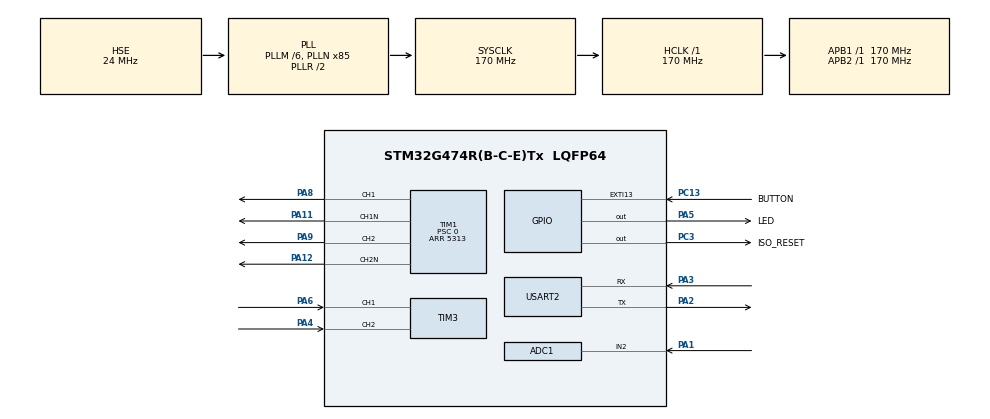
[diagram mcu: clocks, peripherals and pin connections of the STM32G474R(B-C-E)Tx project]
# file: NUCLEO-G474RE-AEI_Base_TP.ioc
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ADC1.Channel-0\#ChannelRegularConversion=ADC_CHANNEL_2
ADC1.ContinuousConvMode=ENABLE
ADC1.DMAContinuousRequests=ENABLE
ADC1.ExternalTrigConv=ADC_EXTERNALTRIG_T2_TRGO
ADC1.NbrOfConversionFlag=1
ADC1.OffsetNumber-0\#ChannelRegularConversion=ADC_OFFSET_NONE
ADC1.Rank-0\#ChannelRegularConversion=1
ADC1.SamplingTime-0\#ChannelRegularConversion=ADC_SAMPLETIME_2CYCLES_5
ADC1.master=1
Dma.ADC1.0.Direction=DMA_PERIPH_TO_MEMORY
Dma.ADC1.0.EventEnable=DISABLE
Dma.ADC1.0.Instance=DMA1_Channel1
Dma.ADC1.0.MemDataAlignment=DMA_MDATAALIGN_HALFWORD
Dma.ADC1.0.MemInc=DMA_MINC_ENABLE
Dma.ADC1.0.Mode=DMA_CIRCULAR
Dma.ADC1.0.PeriphDataAlignment=DMA_PDATAALIGN_HALFWORD
Dma.ADC1.0.PeriphInc=DMA_PINC_DISABLE
Dma.ADC1.0.Polarity=HAL_DMAMUX_REQ_GEN_RISING
Dma.ADC1.0.Priority=DMA_PRIORITY_LOW
Dma.ADC1.0.RequestNumber=1
Dma.ADC1.0.SignalID=NONE
Dma.ADC1.0.SyncEnable=DISABLE
Dma.ADC1.0.SyncPolarity=HAL_DMAMUX_SYNC_NO_EVENT
Dma.ADC1.0.SyncRequestNumber=1
Dma.ADC1.0.SyncSignalID=NONE
Dma.Request0=ADC1
Mcu.Family=STM32G4
Mcu.Name=STM32G474R(B-C-E)Tx
Mcu.Package=LQFP64
NVIC.ADC1_2_IRQn=true\:0\:0\:false\:false\:true\:true\:true\:true
NVIC.DMA1_Channel1_IRQn=true\:0\:0\:false\:false\:true\:false\:true\:true
NVIC.EXTI15_10_IRQn=true\:0\:0\:false\:false\:true\:true\:true\:true
NVIC.PriorityGroup=NVIC_PRIORITYGROUP_4
NVIC.TIM4_IRQn=true\:0\:0\:false\:false\:true\:true\:true\:true
NVIC.TIM6_DAC_IRQn=true\:15\:0\:false\:false\:true\:false\:true\:true
NVIC.TimeBase=TIM6_DAC_IRQn
NVIC.TimeBaseIP=TIM6
NVIC.USART2_IRQn=true\:0\:0\:false\:false\:true\:true\:true\:true
PA1.Mode=IN2-Single-Ended
PA1.Signal=ADC1_IN2
PA11.Mode=PWM Generation1 CH1 CH1N
PA11.Signal=TIM1_CH1N
PA12.Mode=PWM Generation2 CH2 CH2N
PA12.Signal=TIM1_CH2N
PA13.GPIO_Label=T_SWDIO
PA13.Mode=Serial_Wire
PA13.Signal=SYS_JTMS-SWDIO
PA14.GPIO_Label=T_SWCLK
PA14.Mode=Serial_Wire
PA14.Signal=SYS_JTCK-SWCLK
PA2.Mode=Asynchronous
PA2.Signal=USART2_TX
PA3.Mode=Asynchronous
PA3.Signal=USART2_RX
PA4.Signal=S_TIM3_CH2
PA5.GPIO_Label=LED
PA5.Signal=GPIO_Output
PA6.Signal=S_TIM3_CH1
PA8.Signal=S_TIM1_CH1
PA9.Signal=S_TIM1_CH2
PC13.GPIO_Label=BUTTON
PC13.Signal=GPXTI13
PC14-OSC32_IN.Mode=LSE-External-Oscillator
PC14-OSC32_IN.Signal=RCC_OSC32_IN
PC15-OSC32_OUT.Mode=LSE-External-Oscillator
PC15-OSC32_OUT.Signal=RCC_OSC32_OUT
PC3.GPIO_Label=ISO_RESET
PC3.Signal=GPIO_Output
PF0-OSC_IN.Mode=HSE-External-Oscillator
PF0-OSC_IN.Signal=RCC_OSC_IN
PF1-OSC_OUT.Mode=HSE-External-Oscillator
PF1-OSC_OUT.Signal=RCC_OSC_OUT
ProjectManager.HeapSize=0x200
ProjectManager.StackSize=0x400
ProjectManager.TargetToolchain=STM32CubeIDE
RCC.ADC12Freq_Value=170000000
RCC.ADC345Freq_Value=170000000
RCC.AHBFreq_Value=170000000
RCC.APB1Freq_Value=170000000
RCC.APB1TimFreq_Value=170000000
RCC.APB2Freq_Value=170000000
RCC.APB2TimFreq_Value=170000000
RCC.CortexFreq_Value=170000000
RCC.EXTERNAL_CLOCK_VALUE=12288000
RCC.HCLKFreq_Value=170000000
RCC.HSE_VALUE=24000000
RCC.HSI48_VALUE=48000000
RCC.HSI_VALUE=16000000
RCC.PLLM=RCC_PLLM_DIV6
RCC.PLLN=85
RCC.PLLSourceVirtual=RCC_PLLSOURCE_HSE
RCC.RTCClockSelection=RCC_RTCCLKSOURCE_LSE
RCC.SYSCLKFreq_VALUE=170000000
RCC.SYSCLKSource=RCC_SYSCLKSOURCE_PLLCLK
RCC.USBFreq_Value=170000000
RCC.VCOOutputFreq_Value=340000000
SH.S_TIM1_CH1.0=TIM1_CH1,PWM Generation1 CH1 CH1N
SH.S_TIM1_CH2.0=TIM1_CH2,PWM Generation2 CH2 CH2N
SH.S_TIM3_CH1.0=TIM3_CH1,Encoder_Interface
SH.S_TIM3_CH2.0=TIM3_CH2,Encoder_Interface
TIM1.AutoReloadPreload=TIM_AUTORELOAD_PRELOAD_ENABLE
TIM1.Channel-PWM\ Generation1\ CH1\ CH1N=TIM_CHANNEL_1
TIM1.Channel-PWM\ Generation2\ CH2\ CH2N=TIM_CHANNEL_2
TIM1.CounterMode=TIM_COUNTERMODE_CENTERALIGNED1
TIM1.DeadTime=205
TIM1.PeriodNoDither=5313
TIM1.Prescaler=0
TIM1.PulseNoDither_1=2656
TIM1.PulseNoDither_2=2656
TIM1.TIM_MasterOutputTrigger=TIM_TRGO_UPDATE
TIM2.PeriodNoDither=1062
TIM2.TIM_MasterOutputTrigger=TIM_TRGO_UPDATE
TIM3.EncoderMode=TIM_ENCODERMODE_TI12
TIM4.PeriodNoDither=10000-1
TIM4.Prescaler=1700-1
USART2.VirtualMode-Asynchronous=VM_ASYNC
VP_SYS_VS_DBSignals.Mode=DisableDeadBatterySignals
VP_SYS_VS_tim6.Mode=TIM6
VP_TIM1_VS_ClockSourceINT.Mode=Internal
VP_TIM2_VS_ClockSourceINT.Mode=Internal
VP_TIM4_VS_ClockSourceINT.Mode=Internal
board=NUCLEO-G474RE

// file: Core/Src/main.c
/* USER CODE BEGIN Header */
/**
 ******************************************************************************
 * @file           : main.c
 * @brief          : Main program body
 ******************************************************************************
 * @attention
 *
 * Copyright (c) 2022 STMicroelectronics.
 * All rights reserved.
 *
 * This software is licensed under terms that can be found in the LICENSE file
 * in the root directory of this software component.
 * If no LICENSE file comes with this software, it is provided AS-IS.
 *
 ******************************************************************************
 */
/* USER CODE END Header */
#include "main.h"
#include "adc.h"
#include "dma.h"
#include "tim.h"
#include "usart.h"
#include "gpio.h"

/* USER CODE BEGIN Includes */
#include <stdio.h>
#include <stdlib.h>
#include <string.h>
#include "shell.h"
#include "motor.h"

/* USER CODE END Includes */

/* USER CODE BEGIN PD */
#define ADC_BUF_SIZE	10

/* USER CODE END PD */

/* USER CODE BEGIN PV */

extern uint8_t uartRxReceived;
extern uint8_t uartRxBuffer[UART_RX_BUFFER_SIZE];
extern uint8_t uartTxBuffer[UART_TX_BUFFER_SIZE];
uint16_t ADC_buffer[ADC_BUF_SIZE];
uint8_t FLAG;		// flag utilisé lors de linteruption du dma qui indique qu'il est plein
uint8_t idx;
float vitesse;		// utiliser pour la mesure de la vitesse
float value ;		// utilisé pour la messure de la tension image du courant
float alpha2prev=0.5;
float kp=0.002;		//coeff correcteur proportionel
float ki=3;			//coeff corrcteur integrale
float Te=1/16000.0;	//coeff correcteur proportionel
float ireq;			//  consigne
float eps=0;		//erreur
float eps_prev=0.0;
float alpha2, alpha1 ,alf;
int flagA;			// flag utilisé pour le lancement de l'asservisssement

float vit;
float eps_vit=0;		//erreur
float eps_prev_vit=0.0;
float alpha2_vit, alpha1_vit;
float omega_consigne;

/* USER CODE END PV */

void SystemClock_Config(void);

int main(void)
{

	/* MCU Configuration--------------------------------------------------------*/

	/* Reset of all peripherals, Initializes the Flash interface and the Systick. */
	HAL_Init();

	/* Configure the system clock */
	SystemClock_Config();

	/* Initialize all configured peripherals */
	MX_GPIO_Init();
	MX_DMA_Init();
	MX_TIM1_Init();
	MX_USART2_UART_Init();
	MX_ADC1_Init();
	MX_TIM2_Init();
	MX_TIM3_Init();
	MX_TIM4_Init();
	/* USER CODE BEGIN 2 */
	HAL_UART_Receive_IT(&huart2, uartRxBuffer, UART_RX_BUFFER_SIZE);
	HAL_Delay(1);
	shellInit();
	HAL_TIM_PWM_Start(&htim1,TIM_CHANNEL_1);			//Lancement des 2 PWm utilisé pour la commande avec leur complémentaire
	HAL_TIMEx_PWMN_Start(&htim1,TIM_CHANNEL_1);
	HAL_TIM_PWM_Start(&htim1,TIM_CHANNEL_2);
	HAL_TIMEx_PWMN_Start(&htim1,TIM_CHANNEL_2);

	HAL_TIM_Encoder_Start(&htim3, TIM_CHANNEL_ALL);   // activation du TIM3  en mode encodeur
	HAL_TIM_Base_Start_IT(&htim4);

	HAL_ADCEx_Calibration_Start(&hadc1,ADC_SINGLE_ENDED);
	HAL_ADC_Start_DMA(&hadc1, ADC_buffer, ADC_BUF_SIZE);
	HAL_TIM_Base_Start(&htim2);
	/* USER CODE END 2 */

	/* Infinite loop */
	/* USER CODE BEGIN WHILE */

	while (1)
	{
		// SuperLoop inside the while(1), only flag changed from interrupt could launch functions
		if(uartRxReceived){
			if(shellGetChar()){
				shellExec();
				shellPrompt();
			}
			uartRxReceived = 0;

		}
		if(FLAG==1){
			value=0;
			for(idx=0;idx<ADC_BUF_SIZE;idx++){
				value=value+ADC_buffer[idx];
			}
			value= value/10;    		//on calcul la moyene des valeurs enregistré par le DMA dans le buffer
			value= (value*3.3)/4096;	//résolution de 12 bits
			value= (value-2.255)*12;	// rapport entre tension courant et un offset de 0A pour 2.5V (il y avais un offset suplémentaire sur notre carte )

			if(flagA==1){

				eps_prev=eps;  //stockage de l'ancienne valeur de l'erreur
				eps=ireq-value;//calcul de l'erreur
				alpha1=eps*kp;
				alpha2=alpha2prev+(ki*Te/2)*(eps+eps_prev);

				if(alpha2>1){ 	//anti windup
					alpha2=1;
				}
				if(alpha2<0){
					alpha2=0;
				}

				alpha2prev=alpha2;
				alf=alpha1+alpha2;
				if(alf>1){
					alf=1;
				}
				if(alf<0){
					alf=0;
				}

				alf=(int)(alf*5313);
				TIM1->CCR1=alf;				// PWM avec le alpha calculé par le correcteur
				TIM1->CCR2=5313-alf;		//
			}

			FLAG=0;				// on remet le flag du DMA a zero

		}

		/* USER CODE END WHILE */

	}
}

void SystemClock_Config(void)
{
	RCC_OscInitTypeDef RCC_OscInitStruct = {0};
	RCC_ClkInitTypeDef RCC_ClkInitStruct = {0};

	/** Configure the main internal regulator output voltage
	 */
	HAL_PWREx_ControlVoltageScaling(PWR_REGULATOR_VOLTAGE_SCALE1_BOOST);

	/** Initializes the RCC Oscillators according to the specified parameters
	 * in the RCC_OscInitTypeDef structure.
	 */
	RCC_OscInitStruct.OscillatorType = RCC_OSCILLATORTYPE_HSE;
	RCC_OscInitStruct.HSEState = RCC_HSE_ON;
	RCC_OscInitStruct.PLL.PLLState = RCC_PLL_ON;
	RCC_OscInitStruct.PLL.PLLSource = RCC_PLLSOURCE_HSE;
	RCC_OscInitStruct.PLL.PLLM = RCC_PLLM_DIV6;
	RCC_OscInitStruct.PLL.PLLN = 85;
	RCC_OscInitStruct.PLL.PLLP = RCC_PLLP_DIV2;
	RCC_OscInitStruct.PLL.PLLQ = RCC_PLLQ_DIV2;
	RCC_OscInitStruct.PLL.PLLR = RCC_PLLR_DIV2;
	if (HAL_RCC_OscConfig(&RCC_OscInitStruct) != HAL_OK)
	{
		Error_Handler();
	}

	/** Initializes the CPU, AHB and APB buses clocks
	 */
	RCC_ClkInitStruct.ClockType = RCC_CLOCKTYPE_HCLK|RCC_CLOCKTYPE_SYSCLK
			|RCC_CLOCKTYPE_PCLK1|RCC_CLOCKTYPE_PCLK2;
	RCC_ClkInitStruct.SYSCLKSource = RCC_SYSCLKSOURCE_PLLCLK;
	RCC_ClkInitStruct.AHBCLKDivider = RCC_SYSCLK_DIV1;
	RCC_ClkInitStruct.APB1CLKDivider = RCC_HCLK_DIV1;
	RCC_ClkInitStruct.APB2CLKDivider = RCC_HCLK_DIV1;

	if (HAL_RCC_ClockConfig(&RCC_ClkInitStruct, FLASH_LATENCY_4) != HAL_OK)
	{
		Error_Handler();
	}
}

/* USER CODE BEGIN 4 */
void HAL_GPIO_EXTI_Callback(uint16_t GPIO_Pin)
{
	int i;
	HAL_GPIO_WritePin(ISO_RESET_GPIO_Port, ISO_RESET_Pin, GPIO_PIN_SET);
	for(i=0;i<33;i++){}
	HAL_GPIO_WritePin(ISO_RESET_GPIO_Port, ISO_RESET_Pin, GPIO_PIN_RESET);
}

void HAL_ADC_ConvCpltCallback(ADC_HandleTypeDef *hadc)
{
	FLAG=1;			// flag qui indique que le buffer est plein
}

/* USER CODE END 4 */

void HAL_TIM_PeriodElapsedCallback(TIM_HandleTypeDef *htim)
{
	if (htim->Instance == TIM6) {
		HAL_IncTick();
	}
	/* USER CODE BEGIN Callback 1 */
	if (htim->Instance == TIM4) {
		vitesse=TIM3->CNT;		// on recupere le nombre de front montant et descendant recu par la PWM de la roue codeuse
		TIM3->CNT=32768;		// puit on remet le compte a la moitié de la valeur max du compteur

	}
	/* USER CODE END Callback 1 */
}

void Error_Handler(void)
{
	__disable_irq();
	while (1)
	{
	}
}
